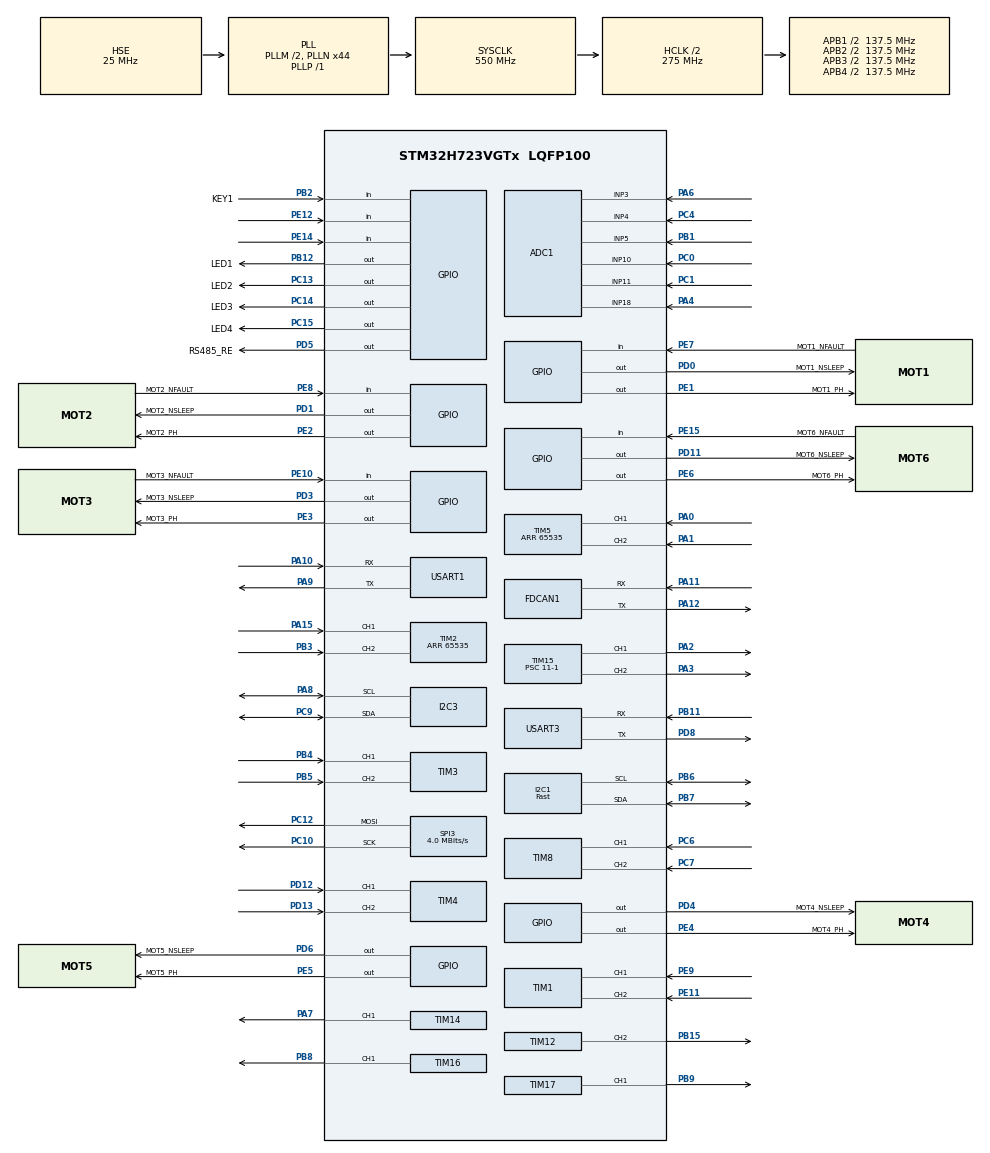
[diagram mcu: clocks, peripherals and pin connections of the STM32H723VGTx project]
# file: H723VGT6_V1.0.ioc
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ADC1.Channel-0\#ChannelRegularConversion=ADC_CHANNEL_3
ADC1.Channel-1\#ChannelRegularConversion=ADC_CHANNEL_4
ADC1.Channel-2\#ChannelRegularConversion=ADC_CHANNEL_5
ADC1.Channel-3\#ChannelRegularConversion=ADC_CHANNEL_10
ADC1.Channel-4\#ChannelRegularConversion=ADC_CHANNEL_11
ADC1.Channel-5\#ChannelRegularConversion=ADC_CHANNEL_18
ADC1.ClockPrescaler=ADC_CLOCK_SYNC_PCLK_DIV4
ADC1.ConversionDataManagement=ADC_CONVERSIONDATA_DMA_CIRCULAR
ADC1.EOCSelection=ADC_EOC_SEQ_CONV
ADC1.ExternalTrigConv=ADC_EXTERNALTRIG_T6_TRGO
ADC1.NbrOfConversion=6
ADC1.NbrOfConversionFlag=1
ADC1.OffsetNumber-0\#ChannelRegularConversion=ADC_OFFSET_NONE
ADC1.OffsetNumber-1\#ChannelRegularConversion=ADC_OFFSET_NONE
ADC1.OffsetNumber-2\#ChannelRegularConversion=ADC_OFFSET_NONE
ADC1.OffsetNumber-3\#ChannelRegularConversion=ADC_OFFSET_NONE
ADC1.OffsetNumber-4\#ChannelRegularConversion=ADC_OFFSET_NONE
ADC1.OffsetNumber-5\#ChannelRegularConversion=ADC_OFFSET_NONE
ADC1.OffsetSignedSaturation-0\#ChannelRegularConversion=DISABLE
ADC1.OffsetSignedSaturation-1\#ChannelRegularConversion=DISABLE
ADC1.OffsetSignedSaturation-2\#ChannelRegularConversion=DISABLE
ADC1.OffsetSignedSaturation-3\#ChannelRegularConversion=DISABLE
ADC1.OffsetSignedSaturation-4\#ChannelRegularConversion=DISABLE
ADC1.OffsetSignedSaturation-5\#ChannelRegularConversion=DISABLE
ADC1.Rank-0\#ChannelRegularConversion=1
ADC1.Rank-1\#ChannelRegularConversion=2
ADC1.Rank-2\#ChannelRegularConversion=3
ADC1.Rank-3\#ChannelRegularConversion=4
ADC1.Rank-4\#ChannelRegularConversion=5
ADC1.Rank-5\#ChannelRegularConversion=6
ADC1.SamplingTime-0\#ChannelRegularConversion=ADC_SAMPLETIME_64CYCLES_5
ADC1.SamplingTime-1\#ChannelRegularConversion=ADC_SAMPLETIME_64CYCLES_5
ADC1.SamplingTime-2\#ChannelRegularConversion=ADC_SAMPLETIME_64CYCLES_5
ADC1.SamplingTime-3\#ChannelRegularConversion=ADC_SAMPLETIME_64CYCLES_5
ADC1.SamplingTime-4\#ChannelRegularConversion=ADC_SAMPLETIME_64CYCLES_5
ADC1.SamplingTime-5\#ChannelRegularConversion=ADC_SAMPLETIME_64CYCLES_5
ADC1.master=1
CORTEX_M7.CPU_DCache=Disabled
CORTEX_M7.CPU_ICache=Disabled
CORTEX_M7.default_mode_Activation=1
Dma.ADC1.4.Direction=DMA_PERIPH_TO_MEMORY
Dma.ADC1.4.EventEnable=DISABLE
Dma.ADC1.4.FIFOMode=DMA_FIFOMODE_DISABLE
Dma.ADC1.4.Instance=DMA1_Stream6
Dma.ADC1.4.MemDataAlignment=DMA_MDATAALIGN_HALFWORD
Dma.ADC1.4.MemInc=DMA_MINC_ENABLE
Dma.ADC1.4.Mode=DMA_CIRCULAR
Dma.ADC1.4.PeriphDataAlignment=DMA_PDATAALIGN_HALFWORD
Dma.ADC1.4.PeriphInc=DMA_PINC_DISABLE
Dma.ADC1.4.Polarity=HAL_DMAMUX_REQ_GEN_RISING
Dma.ADC1.4.Priority=DMA_PRIORITY_LOW
Dma.ADC1.4.RequestNumber=1
Dma.ADC1.4.SignalID=NONE
Dma.ADC1.4.SyncEnable=DISABLE
Dma.ADC1.4.SyncPolarity=HAL_DMAMUX_SYNC_NO_EVENT
Dma.ADC1.4.SyncRequestNumber=1
Dma.ADC1.4.SyncSignalID=NONE
Dma.Request0=USART1_RX
Dma.Request1=USART1_TX
Dma.Request2=USART3_RX
Dma.Request3=USART3_TX
Dma.Request4=ADC1
Dma.USART1_RX.0.Direction=DMA_PERIPH_TO_MEMORY
Dma.USART1_RX.0.EventEnable=DISABLE
Dma.USART1_RX.0.FIFOMode=DMA_FIFOMODE_DISABLE
Dma.USART1_RX.0.Instance=DMA1_Stream0
Dma.USART1_RX.0.MemDataAlignment=DMA_MDATAALIGN_BYTE
Dma.USART1_RX.0.MemInc=DMA_MINC_ENABLE
Dma.USART1_RX.0.Mode=DMA_CIRCULAR
Dma.USART1_RX.0.PeriphDataAlignment=DMA_PDATAALIGN_BYTE
Dma.USART1_RX.0.PeriphInc=DMA_PINC_DISABLE
Dma.USART1_RX.0.Polarity=HAL_DMAMUX_REQ_GEN_RISING
Dma.USART1_RX.0.Priority=DMA_PRIORITY_LOW
Dma.USART1_RX.0.RequestNumber=1
Dma.USART1_RX.0.SignalID=NONE
Dma.USART1_RX.0.SyncEnable=DISABLE
Dma.USART1_RX.0.SyncPolarity=HAL_DMAMUX_SYNC_NO_EVENT
Dma.USART1_RX.0.SyncRequestNumber=1
Dma.USART1_RX.0.SyncSignalID=NONE
Dma.USART1_TX.1.Direction=DMA_MEMORY_TO_PERIPH
Dma.USART1_TX.1.EventEnable=DISABLE
Dma.USART1_TX.1.FIFOMode=DMA_FIFOMODE_DISABLE
Dma.USART1_TX.1.Instance=DMA1_Stream1
Dma.USART1_TX.1.MemDataAlignment=DMA_MDATAALIGN_BYTE
Dma.USART1_TX.1.MemInc=DMA_MINC_ENABLE
Dma.USART1_TX.1.Mode=DMA_NORMAL
Dma.USART1_TX.1.PeriphDataAlignment=DMA_PDATAALIGN_BYTE
Dma.USART1_TX.1.PeriphInc=DMA_PINC_DISABLE
Dma.USART1_TX.1.Polarity=HAL_DMAMUX_REQ_GEN_RISING
Dma.USART1_TX.1.Priority=DMA_PRIORITY_LOW
Dma.USART1_TX.1.RequestNumber=1
Dma.USART1_TX.1.SignalID=NONE
Dma.USART1_TX.1.SyncEnable=DISABLE
Dma.USART1_TX.1.SyncPolarity=HAL_DMAMUX_SYNC_NO_EVENT
Dma.USART1_TX.1.SyncRequestNumber=1
Dma.USART1_TX.1.SyncSignalID=NONE
Dma.USART3_RX.2.Direction=DMA_PERIPH_TO_MEMORY
Dma.USART3_RX.2.EventEnable=DISABLE
Dma.USART3_RX.2.FIFOMode=DMA_FIFOMODE_DISABLE
Dma.USART3_RX.2.Instance=DMA1_Stream4
Dma.USART3_RX.2.MemDataAlignment=DMA_MDATAALIGN_BYTE
Dma.USART3_RX.2.MemInc=DMA_MINC_ENABLE
Dma.USART3_RX.2.Mode=DMA_CIRCULAR
Dma.USART3_RX.2.PeriphDataAlignment=DMA_PDATAALIGN_BYTE
Dma.USART3_RX.2.PeriphInc=DMA_PINC_DISABLE
Dma.USART3_RX.2.Polarity=HAL_DMAMUX_REQ_GEN_RISING
Dma.USART3_RX.2.Priority=DMA_PRIORITY_LOW
Dma.USART3_RX.2.RequestNumber=1
Dma.USART3_RX.2.SignalID=NONE
Dma.USART3_RX.2.SyncEnable=DISABLE
Dma.USART3_RX.2.SyncPolarity=HAL_DMAMUX_SYNC_NO_EVENT
Dma.USART3_RX.2.SyncRequestNumber=1
Dma.USART3_RX.2.SyncSignalID=NONE
Dma.USART3_TX.3.Direction=DMA_MEMORY_TO_PERIPH
Dma.USART3_TX.3.EventEnable=DISABLE
Dma.USART3_TX.3.FIFOMode=DMA_FIFOMODE_DISABLE
Dma.USART3_TX.3.Instance=DMA1_Stream5
Dma.USART3_TX.3.MemDataAlignment=DMA_MDATAALIGN_BYTE
Dma.USART3_TX.3.MemInc=DMA_MINC_ENABLE
Dma.USART3_TX.3.Mode=DMA_NORMAL
Dma.USART3_TX.3.PeriphDataAlignment=DMA_PDATAALIGN_BYTE
Dma.USART3_TX.3.PeriphInc=DMA_PINC_DISABLE
Dma.USART3_TX.3.Polarity=HAL_DMAMUX_REQ_GEN_RISING
Dma.USART3_TX.3.Priority=DMA_PRIORITY_LOW
Dma.USART3_TX.3.RequestNumber=1
Dma.USART3_TX.3.SignalID=NONE
Dma.USART3_TX.3.SyncEnable=DISABLE
Dma.USART3_TX.3.SyncPolarity=HAL_DMAMUX_SYNC_NO_EVENT
Dma.USART3_TX.3.SyncRequestNumber=1
Dma.USART3_TX.3.SyncSignalID=NONE
FDCAN1.AutoRetransmission=ENABLE
FDCAN1.CalculateBaudRateNominal=1007812
FDCAN1.CalculateTimeBitNominal=992
FDCAN1.CalculateTimeQuantumNominal=12.4031007751938
FDCAN1.DataSyncJumpWidth=2
FDCAN1.DataTimeSeg1=13
FDCAN1.DataTimeSeg2=2
FDCAN1.ExtFiltersNbr=4
FDCAN1.FrameFormat=FDCAN_FRAME_FD_BRS
FDCAN1.NominalPrescaler=1
FDCAN1.NominalSyncJumpWidth=20
FDCAN1.NominalTimeSeg1=59
FDCAN1.NominalTimeSeg2=20
FDCAN1.ProtocolException=ENABLE
FDCAN1.RxBufferSize=FDCAN_DATA_BYTES_64
FDCAN1.RxBuffersNbr=8
FDCAN1.RxFifo0ElmtSize=FDCAN_DATA_BYTES_64
FDCAN1.RxFifo0ElmtsNbr=8
FDCAN1.RxFifo1ElmtSize=FDCAN_DATA_BYTES_64
FDCAN1.StdFiltersNbr=4
FDCAN1.TransmitPause=ENABLE
FDCAN1.TxBuffersNbr=8
FDCAN1.TxElmtSize=FDCAN_DATA_BYTES_64
FDCAN1.TxEventsNbr=8
FDCAN1.TxFifoQueueElmtsNbr=8
FREERTOS.Events01=LaunchEvents,Dynamic,NULL;StoreEvents,Dynamic,NULL
FREERTOS.Queues01=Rs485RecvQueue,6,void *,0,Dynamic,NULL,NULL;TestQueue,5,void *,0,Dynamic,NULL,NULL;EncSenseQueue,100,void *,0,Dynamic,NULL,NULL
FREERTOS.Tasks01=defaultTask,24,128,StartDefaultTask,Default,NULL,Dynamic,NULL,NULL;CurrLoopTask,45,256,StartCurrLoopTask,As external,NULL,Dynamic,NULL,NULL;SpdLoopTask,44,256,StartSpdLoopTask,As external,NULL,Dynamic,NULL,NULL;PosLoopTask,43,256,StartPosLoopTask,As external,NULL,Dynamic,NULL,NULL;CurrSenseTask,41,6144,StartCurrSenseTask,As external,NULL,Dynamic,NULL,NULL;EncSenseTask,38,1024,StartEncSenseTask,As external,NULL,Dynamic,NULL,NULL;TempSenseTask,27,128,StartTempSenseTask,As external,NULL,Dynamic,NULL,NULL;SysCtrlTask,12,128,StartSysCtrlTask,As external,NULL,Dynamic,NULL,NULL;Rs485RecvTask,46,1024,StartRs485RecvTask,As external,NULL,Dynamic,NULL,NULL;UartDbgTask,27,256,StartUartDbgTask,As external,NULL,Dynamic,NULL,NULL;StoreTask,24,256,StartStoreTask,As external,NULL,Dynamic,NULL,NULL;LaunchTask,47,128,StartLaunchTask,As external,NULL,Dynamic,NULL,NULL;TestTask,24,128,StartTestTask,As external,NULL,Dynamic,NULL,NULL;KinSolverTask,24,1024,StartKinSolverTask,As external,NULL,Dynamic,NULL,NULL;LedTask,8,128,StartLedTask,As external,NULL,Dynamic,NULL,NULL;CANFDRecvTask,44,1024,StartCANFDRecvTask,As external,NULL,Dynamic,NULL,NULL
FREERTOS.configGENERATE_RUN_TIME_STATS=1
FREERTOS.configTOTAL_HEAP_SIZE=65536
FREERTOS.configUSE_STATS_FORMATTING_FUNCTIONS=1
I2C1.I2C_Speed_Mode=I2C_Fast
I2C1.Timing=0x00D049FB
I2C3.Timing=0x60404E72
Mcu.Family=STM32H7
Mcu.Name=STM32H723VGTx
Mcu.Package=LQFP100
NVIC.DMA1_Stream0_IRQn=true\:5\:0\:false\:false\:true\:true\:false\:true\:true
NVIC.DMA1_Stream1_IRQn=true\:5\:0\:false\:false\:true\:true\:false\:true\:true
NVIC.DMA1_Stream4_IRQn=true\:5\:0\:false\:false\:true\:true\:false\:true\:true
NVIC.DMA1_Stream5_IRQn=true\:5\:0\:false\:false\:true\:true\:false\:true\:true
NVIC.DMA1_Stream6_IRQn=true\:5\:0\:false\:false\:true\:true\:false\:true\:true
NVIC.FDCAN1_IT0_IRQn=true\:5\:0\:false\:false\:true\:true\:true\:true\:true
NVIC.FDCAN1_IT1_IRQn=true\:5\:0\:false\:false\:true\:true\:true\:true\:true
NVIC.PriorityGroup=NVIC_PRIORITYGROUP_4
NVIC.TIM7_IRQn=true\:5\:0\:false\:false\:true\:true\:true\:true\:true
NVIC.TIM8_UP_TIM13_IRQn=true\:15\:0\:false\:false\:true\:false\:true\:true\:true
NVIC.TimeBase=TIM8_UP_TIM13_IRQn
NVIC.TimeBaseIP=TIM13
NVIC.USART1_IRQn=true\:5\:0\:false\:false\:true\:true\:true\:true\:true
NVIC.USART3_IRQn=true\:5\:0\:false\:false\:true\:true\:false\:true\:true
PA0.Signal=S_TIM5_CH1
PA1.Signal=S_TIM5_CH2
PA10.Mode=Asynchronous
PA10.Signal=USART1_RX
PA11.Mode=FDCAN_Activate
PA11.Signal=FDCAN1_RX
PA12.Mode=FDCAN_Activate
PA12.Signal=FDCAN1_TX
PA15(JTDI).GPIO_PuPd=GPIO_NOPULL
PA15(JTDI).GPIO_Speed=GPIO_SPEED_FREQ_HIGH
PA15(JTDI).Signal=S_TIM2_CH1_ETR
PA2.Signal=S_TIM15_CH1
PA3.Signal=S_TIM15_CH2
PA4.Signal=ADCx_INP18
PA6.Signal=ADCx_INP3
PA7.Signal=S_TIM14_CH1
PA8.Mode=I2C
PA8.Signal=I2C3_SCL
PA9.Mode=Asynchronous
PA9.Signal=USART1_TX
PB1.Signal=ADCx_INP5
PB11.Mode=Asynchronous
PB11.Signal=USART3_RX
PB12.GPIO_Label=LED1
PB12.Signal=GPIO_Output
PB14.GPIO_ModeDefaultPP=GPIO_MODE_AF_PP
PB14.GPIO_PuPd=GPIO_NOPULL
PB14.GPIO_Speed=GPIO_SPEED_FREQ_LOW
PB14.Signal=S_TIM12_CH1
PB15.GPIO_ModeDefaultPP=GPIO_MODE_AF_PP
PB15.GPIO_PuPd=GPIO_NOPULL
PB15.GPIO_Speed=GPIO_SPEED_FREQ_VERY_HIGH
PB15.Signal=S_TIM12_CH2
PB2.GPIO_Label=KEY1
PB2.Signal=GPIO_Input
PB3(JTDO/TRACESWO).Signal=S_TIM2_CH2
PB4(NJTRST).Signal=S_TIM3_CH1
PB5.Signal=S_TIM3_CH2
PB6.GPIO_Pu=GPIO_PULLUP
PB6.GPIO_Speed=GPIO_SPEED_FREQ_VERY_HIGH
PB6.Mode=I2C
PB6.Signal=I2C1_SCL
PB7.GPIO_Pu=GPIO_PULLUP
PB7.GPIO_Speed=GPIO_SPEED_FREQ_VERY_HIGH
PB7.Mode=I2C
PB7.Signal=I2C1_SDA
PB8.Signal=S_TIM16_CH1
PB9.GPIO_Speed=GPIO_SPEED_FREQ_VERY_HIGH
PB9.Signal=S_TIM17_CH1
PC0.Signal=ADCx_INP10
PC1.Signal=ADCx_INP11
PC10.Mode=TX_Only_Simplex_Unidirect_Master
PC10.Signal=SPI3_SCK
PC12.Mode=TX_Only_Simplex_Unidirect_Master
PC12.Signal=SPI3_MOSI
PC13.GPIO_Label=LED2
PC13.PinState=GPIO_PIN_RESET
PC13.Signal=GPIO_Output
PC14-OSC32_IN.GPIO_Label=LED3
PC14-OSC32_IN.Signal=GPIO_Output
PC15-OSC32_OUT.GPIO_Label=LED4
PC15-OSC32_OUT.Signal=GPIO_Output
PC4.Signal=ADCx_INP4
PC6.Signal=S_TIM8_CH1
PC7.Signal=S_TIM8_CH2
PC9.Mode=I2C
PC9.Signal=I2C3_SDA
PD0.GPIO_Label=MOT1_NSLEEP
PD0.PinState=GPIO_PIN_SET
PD0.Signal=GPIO_Output
PD1.GPIO_Label=MOT2_NSLEEP
PD1.PinState=GPIO_PIN_SET
PD1.Signal=GPIO_Output
PD11.GPIO_Label=MOT6_NSLEEP
PD11.PinState=GPIO_PIN_SET
PD11.Signal=GPIO_Output
PD12.Signal=S_TIM4_CH1
PD13.Signal=S_TIM4_CH2
PD3.GPIO_Label=MOT3_NSLEEP
PD3.PinState=GPIO_PIN_SET
PD3.Signal=GPIO_Output
PD4.GPIO_Label=MOT4_NSLEEP
PD4.PinState=GPIO_PIN_SET
PD4.Signal=GPIO_Output
PD5.GPIO_Label=RS485_RE
PD5.GPIO_Speed=GPIO_SPEED_FREQ_HIGH
PD5.Signal=GPIO_Output
PD6.GPIO_Label=MOT5_NSLEEP
PD6.PinState=GPIO_PIN_SET
PD6.Signal=GPIO_Output
PD8.Mode=Asynchronous
PD8.Signal=USART3_TX
PE1.GPIO_Label=MOT1_PH
PE1.PinState=GPIO_PIN_RESET
PE1.Signal=GPIO_Output
PE10.GPIO_Label=MOT3_NFAULT
PE10.Signal=GPIO_Input
PE11.GPIO_PuPd=GPIO_NOPULL
PE11.Signal=S_TIM1_CH2
PE12.Signal=GPIO_Input
PE14.Signal=GPIO_Input
PE15.GPIO_Label=MOT6_NFAULT
PE15.Signal=GPIO_Input
PE2.GPIO_Label=MOT2_PH
PE2.GPIO_Speed=GPIO_SPEED_FREQ_LOW
PE2.Signal=GPIO_Output
PE3.GPIO_Label=MOT3_PH
PE3.Signal=GPIO_Output
PE4.GPIO_Label=MOT4_PH
PE4.Signal=GPIO_Output
PE5.GPIO_Label=MOT5_PH
PE5.Signal=GPIO_Output
PE6.GPIO_Label=MOT6_PH
PE6.PinState=GPIO_PIN_RESET
PE6.Signal=GPIO_Output
PE7.GPIO_Label=MOT1_NFAULT
PE7.Signal=GPIO_Input
PE8.GPIO_Label=MOT2_NFAULT
PE8.Signal=GPIO_Input
PE9.GPIO_PuPd=GPIO_NOPULL
PE9.Signal=S_TIM1_CH1
PH0-OSC_IN.Mode=HSE-External-Oscillator
PH0-OSC_IN.Signal=RCC_OSC_IN
PH1-OSC_OUT.Mode=HSE-External-Oscillator
PH1-OSC_OUT.Signal=RCC_OSC_OUT
ProjectManager.HeapSize=0x200
ProjectManager.StackSize=0x400
ProjectManager.TargetToolchain=MDK-ARM V5.32
RCC.ADCFreq_Value=80625000
RCC.APB1Freq_Value=137500000
RCC.APB2Freq_Value=137500000
RCC.APB3Freq_Value=137500000
RCC.APB4Freq_Value=137500000
RCC.CortexFreq_Value=550000000
RCC.D1PPRE=RCC_APB3_DIV2
RCC.D2PPRE1=RCC_APB1_DIV2
RCC.D2PPRE2=RCC_APB2_DIV2
RCC.D3PPRE=RCC_APB4_DIV2
RCC.DIVM1=2
RCC.DIVM2=20
RCC.DIVM3=5
RCC.DIVN1=44
RCC.DIVN3=100
RCC.DIVP1=1
RCC.DIVQ3=5
RCC.DIVR3=50
RCC.FDCANCLockSelection=RCC_FDCANCLKSOURCE_PLL2
RCC.HCLKFreq_Value=275000000
RCC.HPRE=RCC_HCLK_DIV2
RCC.PLL2FRACN=0
RCC.PLL3FRACN=0
RCC.PLLFRACN=0
RCC.PLLSourceVirtual=RCC_PLLSOURCE_HSE
RCC.SPI123CLockSelection=RCC_SPI123CLKSOURCE_CLKP
RCC.SYSCLKFreq_VALUE=550000000
RCC.SYSCLKSource=RCC_SYSCLKSOURCE_PLLCLK
RCC.USBFreq_Value=275000000
SH.ADCx_INP10.0=ADC1_INP10,IN10-Single-Ended
SH.ADCx_INP11.0=ADC1_INP11,IN11-Single-Ended
SH.ADCx_INP18.0=ADC1_INP18,IN18-Single-Ended
SH.ADCx_INP3.0=ADC1_INP3,IN3-Single-Ended
SH.ADCx_INP4.0=ADC1_INP4,IN4-Single-Ended
SH.ADCx_INP5.0=ADC1_INP5,IN5-Single-Ended
SH.S_TIM12_CH1.0=TIM12_CH1
SH.S_TIM12_CH2.0=TIM12_CH2,PWM Generation2 CH2
SH.S_TIM14_CH1.0=TIM14_CH1,PWM Generation1 CH1
SH.S_TIM15_CH1.0=TIM15_CH1,PWM Generation1 CH1
SH.S_TIM15_CH2.0=TIM15_CH2,PWM Generation2 CH2
SH.S_TIM16_CH1.0=TIM16_CH1,PWM Generation1 CH1
SH.S_TIM17_CH1.0=TIM17_CH1,PWM Generation1 CH1
SH.S_TIM1_CH1.0=TIM1_CH1,Encoder_Interface
SH.S_TIM1_CH2.0=TIM1_CH2,Encoder_Interface
SH.S_TIM2_CH1_ETR.0=TIM2_CH1,Encoder_Interface
SH.S_TIM2_CH2.0=TIM2_CH2,Encoder_Interface
SH.S_TIM3_CH1.0=TIM3_CH1,Encoder_Interface
SH.S_TIM3_CH2.0=TIM3_CH2,Encoder_Interface
SH.S_TIM4_CH1.0=TIM4_CH1,Encoder_Interface
SH.S_TIM4_CH2.0=TIM4_CH2,Encoder_Interface
SH.S_TIM5_CH1.0=TIM5_CH1,Encoder_Interface
SH.S_TIM5_CH2.0=TIM5_CH2,Encoder_Interface
SH.S_TIM8_CH1.0=TIM8_CH1,Encoder_Interface
SH.S_TIM8_CH2.0=TIM8_CH2,Encoder_Interface
SPI3.BaudRatePrescaler=SPI_BAUDRATEPRESCALER_16
SPI3.CLKPhase=SPI_PHASE_2EDGE
SPI3.CalculateBaudRate=4.0 MBits/s
SPI3.DataSize=SPI_DATASIZE_8BIT
SPI3.Direction=SPI_DIRECTION_2LINES_TXONLY
SPI3.Mode=SPI_MODE_MASTER
SPI3.VirtualType=VM_MASTER
TIM1.AutoReloadPreload=TIM_AUTORELOAD_PRELOAD_DISABLE
TIM1.EncoderMode=TIM_ENCODERMODE_TI12
TIM1.IC1Filter=10
TIM1.IC1Polarity=TIM_ICPOLARITY_RISING
TIM1.IC2Filter=10
TIM12.AutoReloadPreload=TIM_AUTORELOAD_PRELOAD_ENABLE
TIM12.Channel-PWM\ Generation2\ CH2=TIM_CHANNEL_2
TIM12.OCFastMode_PWM-PWM\ Generation2\ CH2=TIM_OCFAST_ENABLE
TIM12.OCPolarity_2=TIM_OCPOLARITY_HIGH
TIM12.Period=1250-1
TIM12.Prescaler=11-1
TIM12.Pulse-PWM\ Generation2\ CH2=0
TIM14.AutoReloadPreload=TIM_AUTORELOAD_PRELOAD_ENABLE
TIM14.Channel=TIM_CHANNEL_1
TIM14.OCFastMode_PWM=TIM_OCFAST_ENABLE
TIM14.Period=1250-1
TIM14.Prescaler=11-1
TIM14.Pulse=0
TIM15.AutoReloadPreload=TIM_AUTORELOAD_PRELOAD_ENABLE
TIM15.Channel-PWM\ Generation1\ CH1=TIM_CHANNEL_1
TIM15.Channel-PWM\ Generation2\ CH2=TIM_CHANNEL_2
TIM15.OCFastMode_PWM-PWM\ Generation1\ CH1=TIM_OCFAST_ENABLE
TIM15.OCFastMode_PWM-PWM\ Generation2\ CH2=TIM_OCFAST_ENABLE
TIM15.Period=1250-1
TIM15.Prescaler=11-1
TIM15.Pulse-PWM\ Generation1\ CH1=0
TIM15.Pulse-PWM\ Generation2\ CH2=0
TIM16.AutoReloadPreload=TIM_AUTORELOAD_PRELOAD_ENABLE
TIM16.Channel=TIM_CHANNEL_1
TIM16.OCFastMode_PWM=TIM_OCFAST_ENABLE
TIM16.Period=1250-1
TIM16.Prescaler=11-1
TIM16.Pulse=0
TIM17.Channel=TIM_CHANNEL_1
TIM17.OCFastMode_PWM=TIM_OCFAST_ENABLE
TIM17.Period=1250-1
TIM17.Prescaler=11-1
TIM17.Pulse=0
TIM2.AutoReloadPreload=TIM_AUTORELOAD_PRELOAD_ENABLE
TIM2.EncoderMode=TIM_ENCODERMODE_TI12
TIM2.IC1Filter=10
TIM2.IC2Filter=10
TIM2.Period=65535
TIM3.EncoderMode=TIM_ENCODERMODE_TI12
TIM3.IC1Filter=10
TIM3.IC2Filter=10
TIM4.AutoReloadPreload=TIM_AUTORELOAD_PRELOAD_ENABLE
TIM4.EncoderMode=TIM_ENCODERMODE_TI12
TIM4.IC1Filter=10
TIM4.IC2Filter=10
TIM5.EncoderMode=TIM_ENCODERMODE_TI12
TIM5.IC1Filter=10
TIM5.IC2Filter=10
TIM5.Period=65535
TIM6.AutoReloadPreload=TIM_AUTORELOAD_PRELOAD_ENABLE
TIM6.Period=15
TIM6.Prescaler=42
TIM6.TIM_MasterOutputTrigger=TIM_TRGO_UPDATE
TIM7.AutoReloadPreload=TIM_AUTORELOAD_PRELOAD_ENABLE
TIM7.Period=1000-1
TIM7.Prescaler=275-1
TIM7.TIM_MasterOutputTrigger=TIM_TRGO_UPDATE
TIM8.EncoderMode=TIM_ENCODERMODE_TI12
TIM8.IC1Filter=10
TIM8.IC2Filter=10
USART1.VirtualMode-Asynchronous=VM_ASYNC
USART3.VirtualMode-Asynchronous=VM_ASYNC
VP_FREERTOS_VS_CMSIS_V2.Mode=CMSIS_V2
VP_MEMORYMAP_VS_MEMORYMAP.Mode=CurAppReg
VP_SYS_VS_tim13.Mode=TIM13
VP_TIM12_VS_ClockSourceINT.Mode=Internal
VP_TIM14_VS_ClockSourceINT.Mode=Enable_Timer
VP_TIM15_VS_ClockSourceINT.Mode=Internal
VP_TIM16_VS_ClockSourceINT.Mode=Enable_Timer
VP_TIM17_VS_ClockSourceINT.Mode=Enable_Timer
VP_TIM6_VS_ClockSourceINT.Mode=Enable_Timer
VP_TIM7_VS_ClockSourceINT.Mode=Enable_Timer
board=custom

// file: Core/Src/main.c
/* USER CODE BEGIN Header */
/**
  ******************************************************************************
  * @file           : main.c
  * @brief          : Main program body
  ******************************************************************************
  * @attention
  *
  * Copyright (c) 2025 STMicroelectronics.
  * All rights reserved.
  *
  * This software is licensed under terms that can be found in the LICENSE file
  * in the root directory of this software component.
  * If no LICENSE file comes with this software, it is provided AS-IS.
  *
  ******************************************************************************
  */
/* USER CODE END Header */
#include "main.h"
#include "cmsis_os.h"
#include "adc.h"
#include "dma.h"
#include "fdcan.h"
#include "i2c.h"
#include "memorymap.h"
#include "spi.h"
#include "tim.h"
#include "usart.h"
#include "gpio.h"

/* USER CODE BEGIN Includes */
#include "uart_redirect.h"
#include "stdio.h"
#include "Rs485RecvTask.h"
#include "UartDbgTask.h"
#include "motor_bsp.h"
#include "EncSenseTask.h"
#include "base_convert.h"
#include "PosLoopTask.h"
#include "SpdLoopTask.h"
#include "data_manager.h"
#include "Action.h"
#include "Kin_Slover.h"
#include "StoreTask.h"

/* USER CODE END Includes */

void SystemClock_Config(void);
void PeriphCommonClock_Config(void);
static void MPU_Config(void);
void MX_FREERTOS_Init(void);

int main(void)
{

  /* USER CODE BEGIN 1 */
 System_VectorTable_Init(0x08020000U);
  /* USER CODE END 1 */

  /* MPU Configuration--------------------------------------------------------*/
  MPU_Config();

  /* MCU Configuration--------------------------------------------------------*/

  /* Reset of all peripherals, Initializes the Flash interface and the Systick. */
  HAL_Init();

  /* USER CODE BEGIN Init */
/**************************************************************************************/

/*IEEE-754 floating point numbers converter*/
//float IN1[6]={60.0f,60.0f,60.0f,60.0f,60.0f,60.0f};
//uint8_t OUT1[12]={0};

//uint8_t IN2[12]={0x00,0x3C,0x00,0x3C,0x00,0x3C,0x00,0x3C,0x00,0x3C,0x00,0x3C};
//float OUT2[6]={0.f};

//floats_to_bytes(IN1,OUT1,12);
//bytes_to_floats(IN2,OUT2,6);

//while(1){}

/**************************************************************************************/
  /* USER CODE END Init */

  /* Configure the system clock */
  SystemClock_Config();

  /* Configure the peripherals common clocks */
  PeriphCommonClock_Config();

  /* USER CODE BEGIN SysInit */
//  MX_I2C1_Init();/*��ʼ����Ҫ�ڴ��ڳ�ʼ��ǰ*/
//	MX_TIM12_Init();
//	MX_TIM14_Init();
//	MX_TIM15_Init();
//	MX_TIM16_Init();
  /* USER CODE END SysInit */

  /* Initialize all configured peripherals */
  MX_GPIO_Init();
  MX_DMA_Init();
  MX_ADC1_Init();
  MX_TIM1_Init();
  MX_TIM2_Init();
  MX_TIM3_Init();
  MX_TIM4_Init();
  MX_TIM5_Init();
  MX_TIM6_Init();
  MX_TIM7_Init();
  MX_TIM8_Init();
  MX_TIM12_Init();
  MX_TIM14_Init();
  MX_TIM15_Init();
  MX_TIM16_Init();
  MX_TIM17_Init();
  MX_I2C1_Init();
  MX_I2C3_Init();
  StoreTask_Read485ConfigFromEEPROM();
  MX_USART1_UART_Init();
  MX_USART3_UART_Init();
  MX_SPI3_Init();
  MX_FDCAN1_Init();
  /* USER CODE BEGIN 2 */
  Motor_Init();
  SpeedControl_Init();
  PositionControl_Init();
  DataManager_Init();
  /* USER CODE END 2 */

  /* Init scheduler */
  osKernelInitialize();

  /* Call init function for freertos objects (in cmsis_os2.c) */
  MX_FREERTOS_Init();

  /* Start scheduler */
  osKernelStart();

  /* We should never get here as control is now taken by the scheduler */

  /* Infinite loop */
  while (1)
  {

  }
}

void SystemClock_Config(void)
{
  RCC_OscInitTypeDef RCC_OscInitStruct = {0};
  RCC_ClkInitTypeDef RCC_ClkInitStruct = {0};

  /** Supply configuration update enable
  */
  HAL_PWREx_ConfigSupply(PWR_LDO_SUPPLY);

  /** Configure the main internal regulator output voltage
  */
  __HAL_PWR_VOLTAGESCALING_CONFIG(PWR_REGULATOR_VOLTAGE_SCALE0);

  while(!__HAL_PWR_GET_FLAG(PWR_FLAG_VOSRDY)) {}

  /** Initializes the RCC Oscillators according to the specified parameters
  * in the RCC_OscInitTypeDef structure.
  */
  RCC_OscInitStruct.OscillatorType = RCC_OSCILLATORTYPE_HSI|RCC_OSCILLATORTYPE_HSE;
  RCC_OscInitStruct.HSEState = RCC_HSE_ON;
  RCC_OscInitStruct.HSIState = RCC_HSI_DIV1;
  RCC_OscInitStruct.HSICalibrationValue = 64;
  RCC_OscInitStruct.PLL.PLLState = RCC_PLL_ON;
  RCC_OscInitStruct.PLL.PLLSource = RCC_PLLSOURCE_HSE;
  RCC_OscInitStruct.PLL.PLLM = 2;
  RCC_OscInitStruct.PLL.PLLN = 44;
  RCC_OscInitStruct.PLL.PLLP = 1;
  RCC_OscInitStruct.PLL.PLLQ = 2;
  RCC_OscInitStruct.PLL.PLLR = 2;
  RCC_OscInitStruct.PLL.PLLRGE = RCC_PLL1VCIRANGE_3;
  RCC_OscInitStruct.PLL.PLLVCOSEL = RCC_PLL1VCOWIDE;
  RCC_OscInitStruct.PLL.PLLFRACN = 0;
  if (HAL_RCC_OscConfig(&RCC_OscInitStruct) != HAL_OK)
  {
    Error_Handler();
  }

  /** Initializes the CPU, AHB and APB buses clocks
  */
  RCC_ClkInitStruct.ClockType = RCC_CLOCKTYPE_HCLK|RCC_CLOCKTYPE_SYSCLK
                              |RCC_CLOCKTYPE_PCLK1|RCC_CLOCKTYPE_PCLK2
                              |RCC_CLOCKTYPE_D3PCLK1|RCC_CLOCKTYPE_D1PCLK1;
  RCC_ClkInitStruct.SYSCLKSource = RCC_SYSCLKSOURCE_PLLCLK;
  RCC_ClkInitStruct.SYSCLKDivider = RCC_SYSCLK_DIV1;
  RCC_ClkInitStruct.AHBCLKDivider = RCC_HCLK_DIV2;
  RCC_ClkInitStruct.APB3CLKDivider = RCC_APB3_DIV2;
  RCC_ClkInitStruct.APB1CLKDivider = RCC_APB1_DIV2;
  RCC_ClkInitStruct.APB2CLKDivider = RCC_APB2_DIV2;
  RCC_ClkInitStruct.APB4CLKDivider = RCC_APB4_DIV2;

  if (HAL_RCC_ClockConfig(&RCC_ClkInitStruct, FLASH_LATENCY_3) != HAL_OK)
  {
    Error_Handler();
  }
}

void PeriphCommonClock_Config(void)
{
  RCC_PeriphCLKInitTypeDef PeriphClkInitStruct = {0};

  /** Initializes the peripherals clock
  */
  PeriphClkInitStruct.PeriphClockSelection = RCC_PERIPHCLK_CKPER;
  PeriphClkInitStruct.CkperClockSelection = RCC_CLKPSOURCE_HSI;
  if (HAL_RCCEx_PeriphCLKConfig(&PeriphClkInitStruct) != HAL_OK)
  {
    Error_Handler();
  }
}

/* USER CODE BEGIN 4 */
void System_VectorTable_Init(uint32_t vector_table_addr)
{
    __disable_irq();

    // ???��????
    SysTick->CTRL = 0;
    SysTick->LOAD = 0;
    SysTick->VAL  = 0;

    // ????????��???????????
    for (int i = 0; i < 8; i++)
    {
        NVIC->ICER[i] = 0xFFFFFFFF;
        NVIC->ICPR[i] = 0xFFFFFFFF;
    }

    SCB->VTOR = vector_table_addr;
    __DSB();
    __ISB();

    __enable_irq();
		SCB->ICSR |= SCB_ICSR_PENDSTCLR_Msk;  // ������������� SysTick pending
}
/* USER CODE END 4 */

 /* MPU Configuration */

void MPU_Config(void)
{
  MPU_Region_InitTypeDef MPU_InitStruct = {0};

  /* Disables the MPU */
  HAL_MPU_Disable();

  /** Initializes and configures the Region and the memory to be protected
  */
  MPU_InitStruct.Enable = MPU_REGION_ENABLE;
  MPU_InitStruct.Number = MPU_REGION_NUMBER0;
  MPU_InitStruct.BaseAddress = 0x0;
  MPU_InitStruct.Size = MPU_REGION_SIZE_4GB;
  MPU_InitStruct.SubRegionDisable = 0x87;
  MPU_InitStruct.TypeExtField = MPU_TEX_LEVEL0;
  MPU_InitStruct.AccessPermission = MPU_REGION_NO_ACCESS;
  MPU_InitStruct.DisableExec = MPU_INSTRUCTION_ACCESS_DISABLE;
  MPU_InitStruct.IsShareable = MPU_ACCESS_SHAREABLE;
  MPU_InitStruct.IsCacheable = MPU_ACCESS_NOT_CACHEABLE;
  MPU_InitStruct.IsBufferable = MPU_ACCESS_NOT_BUFFERABLE;

  HAL_MPU_ConfigRegion(&MPU_InitStruct);
  /* Enables the MPU */
  HAL_MPU_Enable(MPU_PRIVILEGED_DEFAULT);

}

void HAL_TIM_PeriodElapsedCallback(TIM_HandleTypeDef *htim)
{
  if (htim->Instance == TIM13)
  {
    HAL_IncTick();
  }
}

void Error_Handler(void)
{
  __disable_irq();
  while (1)
  {
  }
}

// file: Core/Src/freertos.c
/* USER CODE BEGIN Header */
/**
  ******************************************************************************
  * File Name          : freertos.c
  * Description        : Code for freertos applications
  ******************************************************************************
  * @attention
  *
  * Copyright (c) 2025 STMicroelectronics.
  * All rights reserved.
  *
  * This software is licensed under terms that can be found in the LICENSE file
  * in the root directory of this software component.
  * If no LICENSE file comes with this software, it is provided AS-IS.
  *
  ******************************************************************************
  */
/* USER CODE END Header */

#include "FreeRTOS.h"
#include "task.h"
#include "main.h"
#include "cmsis_os.h"

/* USER CODE BEGIN Includes */
#include "Rs485RecvTask.h"
#include "UartDbgTask.h"
#include "LedTask.h"
/* USER CODE END Includes */

/* Definitions for defaultTask */
osThreadId_t defaultTaskHandle;
const osThreadAttr_t defaultTask_attributes = {
  .name = "defaultTask",
  .stack_size = 128 * 4,
  .priority = (osPriority_t) osPriorityNormal,
};
/* Definitions for CurrLoopTask */
osThreadId_t CurrLoopTaskHandle;
const osThreadAttr_t CurrLoopTask_attributes = {
  .name = "CurrLoopTask",
  .stack_size = 256 * 4,
  .priority = (osPriority_t) osPriorityHigh5,
};
/* Definitions for SpdLoopTask */
osThreadId_t SpdLoopTaskHandle;
const osThreadAttr_t SpdLoopTask_attributes = {
  .name = "SpdLoopTask",
  .stack_size = 256 * 4,
  .priority = (osPriority_t) osPriorityHigh4,
};
/* Definitions for PosLoopTask */
osThreadId_t PosLoopTaskHandle;
const osThreadAttr_t PosLoopTask_attributes = {
  .name = "PosLoopTask",
  .stack_size = 256 * 4,
  .priority = (osPriority_t) osPriorityHigh3,
};
/* Definitions for CurrSenseTask */
osThreadId_t CurrSenseTaskHandle;
const osThreadAttr_t CurrSenseTask_attributes = {
  .name = "CurrSenseTask",
  .stack_size = 6144 * 4,
  .priority = (osPriority_t) osPriorityHigh1,
};
/* Definitions for EncSenseTask */
osThreadId_t EncSenseTaskHandle;
const osThreadAttr_t EncSenseTask_attributes = {
  .name = "EncSenseTask",
  .stack_size = 1024 * 4,
  .priority = (osPriority_t) osPriorityAboveNormal6,
};
/* Definitions for TempSenseTask */
osThreadId_t TempSenseTaskHandle;
const osThreadAttr_t TempSenseTask_attributes = {
  .name = "TempSenseTask",
  .stack_size = 128 * 4,
  .priority = (osPriority_t) osPriorityNormal3,
};
/* Definitions for SysCtrlTask */
osThreadId_t SysCtrlTaskHandle;
const osThreadAttr_t SysCtrlTask_attributes = {
  .name = "SysCtrlTask",
  .stack_size = 128 * 4,
  .priority = (osPriority_t) osPriorityLow4,
};
/* Definitions for Rs485RecvTask */
osThreadId_t Rs485RecvTaskHandle;
const osThreadAttr_t Rs485RecvTask_attributes = {
  .name = "Rs485RecvTask",
  .stack_size = 1024 * 4,
  .priority = (osPriority_t) osPriorityHigh6,
};
/* Definitions for UartDbgTask */
osThreadId_t UartDbgTaskHandle;
const osThreadAttr_t UartDbgTask_attributes = {
  .name = "UartDbgTask",
  .stack_size = 256 * 4,
  .priority = (osPriority_t) osPriorityNormal3,
};
/* Definitions for StoreTask */
osThreadId_t StoreTaskHandle;
const osThreadAttr_t StoreTask_attributes = {
  .name = "StoreTask",
  .stack_size = 256 * 4,
  .priority = (osPriority_t) osPriorityNormal,
};
/* Definitions for LaunchTask */
osThreadId_t LaunchTaskHandle;
const osThreadAttr_t LaunchTask_attributes = {
  .name = "LaunchTask",
  .stack_size = 128 * 4,
  .priority = (osPriority_t) osPriorityHigh7,
};
/* Definitions for TestTask */
osThreadId_t TestTaskHandle;
const osThreadAttr_t TestTask_attributes = {
  .name = "TestTask",
  .stack_size = 128 * 4,
  .priority = (osPriority_t) osPriorityNormal,
};
/* Definitions for KinSolverTask */
osThreadId_t KinSolverTaskHandle;
const osThreadAttr_t KinSolverTask_attributes = {
  .name = "KinSolverTask",
  .stack_size = 1024 * 4,
  .priority = (osPriority_t) osPriorityNormal,
};
/* Definitions for LedTask */
osThreadId_t LedTaskHandle;
const osThreadAttr_t LedTask_attributes = {
  .name = "LedTask",
  .stack_size = 128 * 4,
  .priority = (osPriority_t) osPriorityLow,
};
/* Definitions for CANFDRecvTask */
osThreadId_t CANFDRecvTaskHandle;
const osThreadAttr_t CANFDRecvTask_attributes = {
  .name = "CANFDRecvTask",
  .stack_size = 1024 * 4,
  .priority = (osPriority_t) osPriorityHigh4,
};
/* Definitions for Rs485RecvQueue */
osMessageQueueId_t Rs485RecvQueueHandle;
const osMessageQueueAttr_t Rs485RecvQueue_attributes = {
  .name = "Rs485RecvQueue"
};
/* Definitions for TestQueue */
osMessageQueueId_t TestQueueHandle;
const osMessageQueueAttr_t TestQueue_attributes = {
  .name = "TestQueue"
};
/* Definitions for EncSenseQueue */
osMessageQueueId_t EncSenseQueueHandle;
const osMessageQueueAttr_t EncSenseQueue_attributes = {
  .name = "EncSenseQueue"
};
/* Definitions for LaunchEvents */
osEventFlagsId_t LaunchEventsHandle;
const osEventFlagsAttr_t LaunchEvents_attributes = {
  .name = "LaunchEvents"
};
/* Definitions for StoreEvents */
osEventFlagsId_t StoreEventsHandle;
const osEventFlagsAttr_t StoreEvents_attributes = {
  .name = "StoreEvents"
};

void StartDefaultTask(void *argument);
extern void StartCurrLoopTask(void *argument);
extern void StartSpdLoopTask(void *argument);
extern void StartPosLoopTask(void *argument);
extern void StartCurrSenseTask(void *argument);
extern void StartEncSenseTask(void *argument);
extern void StartTempSenseTask(void *argument);
extern void StartSysCtrlTask(void *argument);
extern void StartRs485RecvTask(void *argument);
extern void StartUartDbgTask(void *argument);
extern void StartStoreTask(void *argument);
extern void StartLaunchTask(void *argument);
extern void StartTestTask(void *argument);
extern void StartKinSolverTask(void *argument);
extern void StartLedTask(void *argument);
extern void StartCANFDRecvTask(void *argument);

void MX_FREERTOS_Init(void); /* (MISRA C 2004 rule 8.1) */

/* Hook prototypes */
void configureTimerForRunTimeStats(void);
unsigned long getRunTimeCounterValue(void);

/* USER CODE BEGIN 1 */
/* Functions needed when configGENERATE_RUN_TIME_STATS is on */
__weak void configureTimerForRunTimeStats(void)
{

}

__weak unsigned long getRunTimeCounterValue(void)
{
return 0;
}
/* USER CODE END 1 */

void MX_FREERTOS_Init(void) {

  /* Create the queue(s) */
  /* creation of Rs485RecvQueue */
  Rs485RecvQueueHandle = osMessageQueueNew (6, sizeof(void *), &Rs485RecvQueue_attributes);

  /* creation of TestQueue */
  TestQueueHandle = osMessageQueueNew (5, sizeof(void *), &TestQueue_attributes);

  /* creation of EncSenseQueue */
  EncSenseQueueHandle = osMessageQueueNew (100, sizeof(void *), &EncSenseQueue_attributes);

  /* Create the thread(s) */
  /* creation of defaultTask */
  defaultTaskHandle = osThreadNew(StartDefaultTask, NULL, &defaultTask_attributes);

  /* creation of CurrLoopTask */
  CurrLoopTaskHandle = osThreadNew(StartCurrLoopTask, NULL, &CurrLoopTask_attributes);

  /* creation of SpdLoopTask */
  SpdLoopTaskHandle = osThreadNew(StartSpdLoopTask, NULL, &SpdLoopTask_attributes);

  /* creation of PosLoopTask */
  PosLoopTaskHandle = osThreadNew(StartPosLoopTask, NULL, &PosLoopTask_attributes);

  /* creation of CurrSenseTask */
  CurrSenseTaskHandle = osThreadNew(StartCurrSenseTask, NULL, &CurrSenseTask_attributes);

  /* creation of EncSenseTask */
  EncSenseTaskHandle = osThreadNew(StartEncSenseTask, NULL, &EncSenseTask_attributes);

  /* creation of TempSenseTask */
  TempSenseTaskHandle = osThreadNew(StartTempSenseTask, NULL, &TempSenseTask_attributes);

  /* creation of SysCtrlTask */
  SysCtrlTaskHandle = osThreadNew(StartSysCtrlTask, NULL, &SysCtrlTask_attributes);

  /* creation of Rs485RecvTask */
  Rs485RecvTaskHandle = osThreadNew(StartRs485RecvTask, NULL, &Rs485RecvTask_attributes);

  /* creation of UartDbgTask */
  UartDbgTaskHandle = osThreadNew(StartUartDbgTask, NULL, &UartDbgTask_attributes);

  /* creation of StoreTask */
  StoreTaskHandle = osThreadNew(StartStoreTask, NULL, &StoreTask_attributes);

  /* creation of LaunchTask */
  LaunchTaskHandle = osThreadNew(StartLaunchTask, NULL, &LaunchTask_attributes);

  /* creation of TestTask */
  TestTaskHandle = osThreadNew(StartTestTask, NULL, &TestTask_attributes);

  /* creation of KinSolverTask */
  KinSolverTaskHandle = osThreadNew(StartKinSolverTask, NULL, &KinSolverTask_attributes);

  /* creation of LedTask */
  LedTaskHandle = osThreadNew(StartLedTask, NULL, &LedTask_attributes);

  /* creation of CANFDRecvTask */
  CANFDRecvTaskHandle = osThreadNew(StartCANFDRecvTask, NULL, &CANFDRecvTask_attributes);

  /* Create the event(s) */
  /* creation of LaunchEvents */
  LaunchEventsHandle = osEventFlagsNew(&LaunchEvents_attributes);

  /* creation of StoreEvents */
  StoreEventsHandle = osEventFlagsNew(&StoreEvents_attributes);

}

void StartDefaultTask(void *argument)
{
  for(;;)
  {
    osDelay(1);
  }
}

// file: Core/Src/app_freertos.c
/* USER CODE BEGIN Header */
/**
  ******************************************************************************
  * File Name          : app_freertos.c
  * Description        : FreeRTOS applicative file
  ******************************************************************************
  * @attention
  *
  * Copyright (c) 2026 STMicroelectronics.
  * All rights reserved.
  *
  * This software is licensed under terms that can be found in the LICENSE file
  * in the root directory of this software component.
  * If no LICENSE file comes with this software, it is provided AS-IS.
  *
  ******************************************************************************
  */
/* USER CODE END Header */

#include "app_freertos.h"

/* USER CODE BEGIN Includes */
#include "../../task/inc/app_task.h"

/* USER CODE END Includes */

/* Definitions for defaultTask */
osThreadId_t defaultTaskHandle;
const osThreadAttr_t defaultTask_attributes = {
  .name = "defaultTask",
  .priority = (osPriority_t) osPriorityNormal,
  .stack_size = 128 * 4
};

void MX_FREERTOS_Init(void) {

  /* creation of defaultTask */
  defaultTaskHandle = osThreadNew(StartDefaultTask, NULL, &defaultTask_attributes);

  /* USER CODE BEGIN RTOS_THREADS */
  /* add threads, ... */
  AppTask_Init();
  /* USER CODE END RTOS_THREADS */

}
void StartDefaultTask(void *argument)
{
  for(;;)
  {
    osDelay(1);
  }
}

/* USER CODE BEGIN Application */
/* Business tasks are created by AppTask_Init() from the USER CODE RTOS_THREADS block. */

/* USER CODE END Application */
